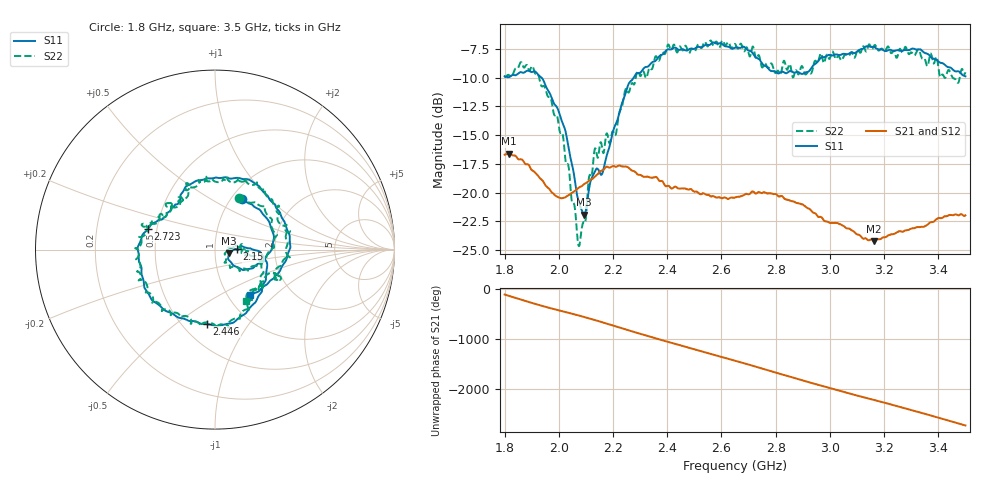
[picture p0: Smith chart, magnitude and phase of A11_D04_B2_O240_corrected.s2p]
! Created with skrf 1.9.0 (http://scikit-rf.org).
# Hz S RI R 50.0
!freq ReS11 ImS11 ReS21 ImS21 ReS12 ImS12 ReS22 ImS22
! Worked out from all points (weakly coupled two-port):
!   1601 points, 1.8 GHz to 3.5 GHz, reference 50 ohm
!   highest |S21| = -16.63 dB at 1.817 GHz (marker M1); lowest = -24.2 dB at 3.163 GHz (marker M2)
!   lowest |S11| = -21.9 dB at 2.093 GHz (marker M3), VSWR 1.17, Z = 58.3 - j2.54 ohm
!   |S11| at or under -10 dB: 1.936 GHz to 2.276 GHz (340.2 MHz wide, 16.2 % of centre)
!   |S22| runs from -24.7 to -6.8 dB; largest |S21 - S12| = 0.0025
!   S11 on the Smith chart (normalised r, x): 1.8 GHz: 1.12, +0.71; 2.15 GHz: 1.28, +0.01; 2.446 GHz: 0.65, -0.66; 2.723 GHz: 0.45, +0.12; 3.5 GHz: 1.26, -0.71
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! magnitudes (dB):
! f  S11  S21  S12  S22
! 1.8 GHz  -9.9  -16.7  -16.7  -9.9
! 1.817 GHz  -10.0  -16.6  -16.6  -9.8
! 1.903 GHz  -9.5  -18.1  -18.1  -9.0
! 1.968 GHz  -11.4  -19.8  -19.8  -11.7
! 2.015 GHz  -14.0  -20.5  -20.5  -15.0
! 2.071 GHz  -20.6  -19.6  -19.7  -24.4
! 2.084 GHz  -21.5  -19.5  -19.4  -23.2
! 2.093 GHz  -21.9  -19.3  -19.3  -22.6
! 2.13 GHz  -18.3  -18.7  -18.7  -16.5
! 2.15 GHz  -18.2  -18.2  -18.2  -16.2
! 2.209 GHz  -14.1  -17.8  -17.7  -15.0
! 2.259 GHz  -10.5  -17.9  -17.9  -11.3
! 2.367 GHz  -8.2  -18.9  -18.8  -8.5
! 2.446 GHz  -7.6  -19.7  -19.7  -7.3
! 2.65 GHz  -7.4  -20.4  -20.4  -7.1
! 2.723 GHz  -8.2  -20.0  -20.0  -8.0
! 2.808 GHz  -9.6  -20.3  -20.2  -9.4
! 2.934 GHz  -9.1  -21.7  -21.6  -9.5
! 3.163 GHz  -7.3  -24.2  -24.2  -7.2
! 3.217 GHz  -7.6  -23.7  -23.7  -7.4
! 3.333 GHz  -7.5  -23.0  -23.0  -7.9
! 3.5 GHz  -9.9  -22.0  -22.0  -9.5
